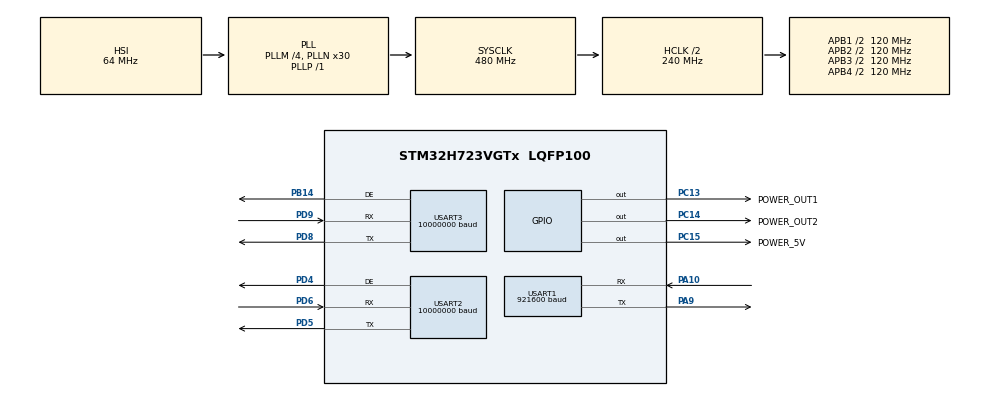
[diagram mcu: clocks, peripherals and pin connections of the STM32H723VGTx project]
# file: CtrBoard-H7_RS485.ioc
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Mcu.Family=STM32H7
Mcu.Name=STM32H723VGTx
Mcu.Package=LQFP100
NVIC.PriorityGroup=NVIC_PRIORITYGROUP_4
NVIC.USART1_IRQn=true\:0\:0\:false\:false\:true\:true\:true\:true
NVIC.USART2_IRQn=true\:1\:0\:true\:false\:true\:true\:true\:true
NVIC.USART3_IRQn=true\:2\:0\:true\:false\:true\:true\:true\:true
PA10.Mode=Asynchronous
PA10.Signal=USART1_RX
PA13(JTMS/SWDIO).Mode=Serial_Wire
PA13(JTMS/SWDIO).Signal=DEBUG_JTMS-SWDIO
PA14(JTCK/SWCLK).Mode=Serial_Wire
PA14(JTCK/SWCLK).Signal=DEBUG_JTCK-SWCLK
PA9.Mode=Asynchronous
PA9.Signal=USART1_TX
PB14.Mode=Hardware Flow Control (RS485)
PB14.Signal=USART3_DE
PC13.GPIO_Label=POWER_OUT1
PC13.PinState=GPIO_PIN_SET
PC13.Signal=GPIO_Output
PC14-OSC32_IN.GPIO_Label=POWER_OUT2
PC14-OSC32_IN.PinState=GPIO_PIN_SET
PC14-OSC32_IN.Signal=GPIO_Output
PC15-OSC32_OUT.GPIO_Label=POWER_5V
PC15-OSC32_OUT.PinState=GPIO_PIN_SET
PC15-OSC32_OUT.Signal=GPIO_Output
PD4.Mode=Hardware Flow Control (RS485)
PD4.Signal=USART2_DE
PD5.Mode=Asynchronous
PD5.Signal=USART2_TX
PD6.Mode=Asynchronous
PD6.Signal=USART2_RX
PD8.Mode=Asynchronous
PD8.Signal=USART3_TX
PD9.Mode=Asynchronous
PD9.Signal=USART3_RX
PH0-OSC_IN.Mode=HSE-External-Oscillator
PH0-OSC_IN.Signal=RCC_OSC_IN
PH1-OSC_OUT.Mode=HSE-External-Oscillator
PH1-OSC_OUT.Signal=RCC_OSC_OUT
ProjectManager.HeapSize=0x200
ProjectManager.StackSize=0x800
ProjectManager.TargetToolchain=MDK-ARM V5.27
RCC.ADCFreq_Value=129000000
RCC.APB1Freq_Value=120000000
RCC.APB2Freq_Value=120000000
RCC.APB3Freq_Value=120000000
RCC.APB4Freq_Value=120000000
RCC.CortexFreq_Value=480000000
RCC.D1PPRE=RCC_APB3_DIV2
RCC.D2PPRE1=RCC_APB1_DIV2
RCC.D2PPRE2=RCC_APB2_DIV2
RCC.D3PPRE=RCC_APB4_DIV2
RCC.DIVM1=4
RCC.DIVN1=30
RCC.DIVP1=1
RCC.HCLKFreq_Value=240000000
RCC.HPRE=RCC_HCLK_DIV2
RCC.HSE_VALUE=24000000
RCC.PLL2FRACN=0
RCC.PLL3FRACN=0
RCC.PLLFRACN=0
RCC.SYSCLKFreq_VALUE=480000000
RCC.SYSCLKSource=RCC_SYSCLKSOURCE_PLLCLK
RCC.USBFreq_Value=240000000
USART1.BaudRate=921600
USART1.VirtualMode-Asynchronous=VM_ASYNC
USART2.BaudRate=10000000
USART2.OverSampling=UART_OVERSAMPLING_8
USART2.VirtualMode-Asynchronous=VM_ASYNC
USART2.VirtualMode-Hardware\ Flow\ Control\ (RS485)=VM_ASYNC
USART3.BaudRate=10000000
USART3.OverSampling=UART_OVERSAMPLING_8
USART3.VirtualMode-Asynchronous=VM_ASYNC
USART3.VirtualMode-Hardware\ Flow\ Control\ (RS485)=VM_ASYNC
board=custom

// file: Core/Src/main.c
/* USER CODE BEGIN Header */
/**
  ******************************************************************************
  * @file           : main.c
  * @brief          : Main program body
  ******************************************************************************
  * @attention
  *
  * Copyright (c) 2024 STMicroelectronics.
  * All rights reserved.
  *
  * This software is licensed under terms that can be found in the LICENSE file
  * in the root directory of this software component.
  * If no LICENSE file comes with this software, it is provided AS-IS.
  *
  ******************************************************************************
  */
/* USER CODE END Header */
#include "main.h"
#include "usart.h"
#include "gpio.h"

/* USER CODE BEGIN Includes */
#include <string.h>
/* USER CODE END Includes */

/* USER CODE BEGIN PD */
#define U1_RX_LEN   5
#define U2_RX_LEN   6
#define U3_RX_LEN   6
/* USER CODE END PD */

/* USER CODE BEGIN PV */
uint8_t u1Rx[U1_RX_LEN];
uint8_t u2Rx[U2_RX_LEN];
uint8_t u3Rx[U3_RX_LEN];
uint8_t u1RxFlag = 0;
uint8_t u2RxFlag = 0;
uint8_t u3RxFlag = 0;
/* USER CODE END PV */

void SystemClock_Config(void);

/* USER CODE BEGIN 0 */

void HAL_UART_RxCpltCallback(UART_HandleTypeDef *huart)
{
    if (huart == &huart1)
    {
        if (memcmp(u1Rx, "test\n", U1_RX_LEN) == 0)
        {
            u1RxFlag = 1;
        }
        HAL_UART_Receive_IT(&huart1, u1Rx, U1_RX_LEN);
    }
    if (huart == &huart2)
    {
        if (memcmp(u2Rx, "U3TOU2", U2_RX_LEN) == 0)
        {
            u2RxFlag = 1;
        }
        HAL_UART_Receive_IT(&huart2, u2Rx, U2_RX_LEN);
    }
    else if (huart == &huart3)
    {
        if (memcmp(u3Rx, "U2TOU3", U3_RX_LEN) == 0)
        {
            u3RxFlag = 1;
        }
        HAL_UART_Receive_IT(&huart3, u3Rx, U3_RX_LEN);
    }
}
/* USER CODE END 0 */

int main(void)
{

  /* MCU Configuration--------------------------------------------------------*/

  /* Reset of all peripherals, Initializes the Flash interface and the Systick. */
  HAL_Init();

  /* Configure the system clock */
  SystemClock_Config();

  /* Initialize all configured peripherals */
  MX_GPIO_Init();
  MX_USART2_UART_Init();
  MX_USART3_UART_Init();
  MX_USART1_UART_Init();
  /* USER CODE BEGIN 2 */
    HAL_UART_Receive_IT(&huart1, u1Rx, U1_RX_LEN);
    HAL_UART_Receive_IT(&huart2, u2Rx, U2_RX_LEN);
    HAL_UART_Receive_IT(&huart3, u3Rx, U3_RX_LEN);
  /* USER CODE END 2 */

  /* Infinite loop */
  while (1)
  {

    /* USER CODE BEGIN 3 */
    if (u1RxFlag == 1)
    {
        HAL_UART_Transmit(&huart1, "U2 send info to U3!\n", sizeof("U2 send info to U3!\n")-1, 0xFFFF);
        HAL_UART_Transmit(&huart2, "U2TOU3", 6, 0xFFFF);
        u1RxFlag = 0;
    }
    if (u2RxFlag == 1)
    {
        HAL_UART_Transmit(&huart1, "U2 get info!\n", sizeof("U2 get info!\n")-1, 0xFFFF);
        HAL_UART_Transmit(&huart1, "RS485 test pass!\n", sizeof("RS485 test pass!\n")-1, 0xFFFF);
        u2RxFlag = 0;
    }
    if (u3RxFlag == 1)
    {
        HAL_UART_Transmit(&huart1, "U3 get info!\n", sizeof("U3 get info!\n")-1, 0xFFFF);
        HAL_UART_Transmit(&huart1, "U3 send info to U2!\n", sizeof("U3 send info to U2!\n")-1, 0xFFFF);
        HAL_UART_Transmit(&huart3, "U3TOU2", 6, 0xFFFF);
        u3RxFlag = 0;
    }
  }
  /* USER CODE END 3 */
}

void SystemClock_Config(void)
{
  RCC_OscInitTypeDef RCC_OscInitStruct = {0};
  RCC_ClkInitTypeDef RCC_ClkInitStruct = {0};

  /** Supply configuration update enable
  */
  HAL_PWREx_ConfigSupply(PWR_LDO_SUPPLY);

  /** Configure the main internal regulator output voltage
  */
  __HAL_PWR_VOLTAGESCALING_CONFIG(PWR_REGULATOR_VOLTAGE_SCALE0);

  while(!__HAL_PWR_GET_FLAG(PWR_FLAG_VOSRDY)) {}

  /** Initializes the RCC Oscillators according to the specified parameters
  * in the RCC_OscInitTypeDef structure.
  */
  RCC_OscInitStruct.OscillatorType = RCC_OSCILLATORTYPE_HSI;
  RCC_OscInitStruct.HSIState = RCC_HSI_DIV1;
  RCC_OscInitStruct.HSICalibrationValue = 64;
  RCC_OscInitStruct.PLL.PLLState = RCC_PLL_ON;
  RCC_OscInitStruct.PLL.PLLSource = RCC_PLLSOURCE_HSI;
  RCC_OscInitStruct.PLL.PLLM = 4;
  RCC_OscInitStruct.PLL.PLLN = 30;
  RCC_OscInitStruct.PLL.PLLP = 1;
  RCC_OscInitStruct.PLL.PLLQ = 2;
  RCC_OscInitStruct.PLL.PLLR = 2;
  RCC_OscInitStruct.PLL.PLLRGE = RCC_PLL1VCIRANGE_3;
  RCC_OscInitStruct.PLL.PLLVCOSEL = RCC_PLL1VCOWIDE;
  RCC_OscInitStruct.PLL.PLLFRACN = 0;
  if (HAL_RCC_OscConfig(&RCC_OscInitStruct) != HAL_OK)
  {
    Error_Handler();
  }

  /** Initializes the CPU, AHB and APB buses clocks
  */
  RCC_ClkInitStruct.ClockType = RCC_CLOCKTYPE_HCLK|RCC_CLOCKTYPE_SYSCLK
                              |RCC_CLOCKTYPE_PCLK1|RCC_CLOCKTYPE_PCLK2
                              |RCC_CLOCKTYPE_D3PCLK1|RCC_CLOCKTYPE_D1PCLK1;
  RCC_ClkInitStruct.SYSCLKSource = RCC_SYSCLKSOURCE_PLLCLK;
  RCC_ClkInitStruct.SYSCLKDivider = RCC_SYSCLK_DIV1;
  RCC_ClkInitStruct.AHBCLKDivider = RCC_HCLK_DIV2;
  RCC_ClkInitStruct.APB3CLKDivider = RCC_APB3_DIV2;
  RCC_ClkInitStruct.APB1CLKDivider = RCC_APB1_DIV2;
  RCC_ClkInitStruct.APB2CLKDivider = RCC_APB2_DIV2;
  RCC_ClkInitStruct.APB4CLKDivider = RCC_APB4_DIV2;

  if (HAL_RCC_ClockConfig(&RCC_ClkInitStruct, FLASH_LATENCY_3) != HAL_OK)
  {
    Error_Handler();
  }
}

void Error_Handler(void)
{
  __disable_irq();
  while (1)
  {
  }
}
